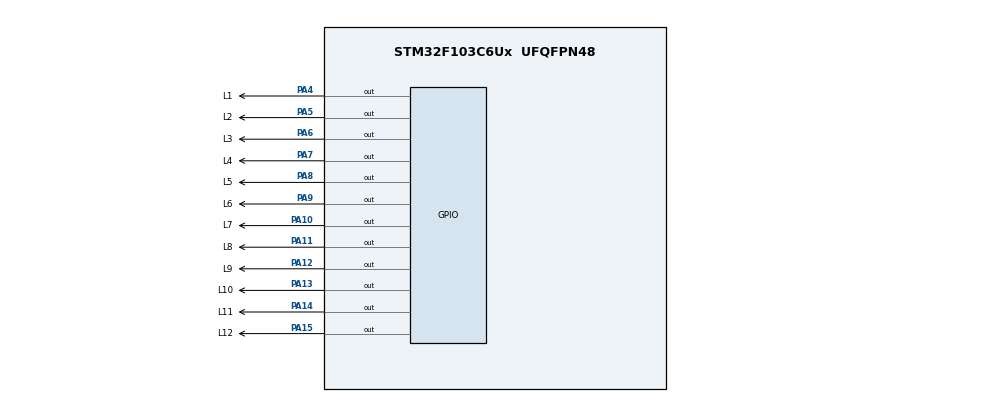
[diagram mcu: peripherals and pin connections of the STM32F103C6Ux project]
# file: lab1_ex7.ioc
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Mcu.Family=STM32F1
Mcu.Name=STM32F103C6Ux
Mcu.Package=UFQFPN48
NVIC.PriorityGroup=NVIC_PRIORITYGROUP_4
PA10.GPIO_Label=L7
PA10.Signal=GPIO_Output
PA11.GPIO_Label=L8
PA11.Signal=GPIO_Output
PA12.GPIO_Label=L9
PA12.Signal=GPIO_Output
PA13.GPIO_Label=L10
PA13.Signal=GPIO_Output
PA14.GPIO_Label=L11
PA14.Signal=GPIO_Output
PA15.GPIO_Label=L12
PA15.Signal=GPIO_Output
PA4.GPIO_Label=L1
PA4.Signal=GPIO_Output
PA5.GPIO_Label=L2
PA5.Signal=GPIO_Output
PA6.GPIO_Label=L3
PA6.Signal=GPIO_Output
PA7.GPIO_Label=L4
PA7.Signal=GPIO_Output
PA8.GPIO_Label=L5
PA8.Signal=GPIO_Output
PA9.GPIO_Label=L6
PA9.Signal=GPIO_Output
ProjectManager.HeapSize=0x200
ProjectManager.StackSize=0x400
ProjectManager.TargetToolchain=STM32CubeIDE
RCC.APB1Freq_Value=8000000
RCC.APB2Freq_Value=8000000
VP_SYS_VS_ND.Mode=No_Debug
board=custom

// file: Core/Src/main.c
/* USER CODE BEGIN Header */
/**
  ******************************************************************************
  * @file           : main.c
  * @brief          : Main program body
  ******************************************************************************
  * @attention
  *
  * <h2><center>&copy; Copyright (c) 2022 STMicroelectronics.
  * All rights reserved.</center></h2>
  *
  * This software component is licensed by ST under BSD 3-Clause license,
  * the "License"; You may not use this file except in compliance with the
  * License. You may obtain a copy of the License at:
  *                        opensource.org/licenses/BSD-3-Clause
  *
  ******************************************************************************
  */
/* USER CODE END Header */
#include "main.h"

void SystemClock_Config(void);
static void MX_GPIO_Init(void);

/* USER CODE BEGIN 0 */
void clearAllClock();
/* USER CODE END 0 */

int main(void)
{

  /* MCU Configuration--------------------------------------------------------*/

  /* Reset of all peripherals, Initializes the Flash interface and the Systick. */
  HAL_Init();

  /* Configure the system clock */
  SystemClock_Config();

  /* Initialize all configured peripherals */
  MX_GPIO_Init();
  /* USER CODE BEGIN 2 */
  int counter = -2;
  // Initialize one of twelve Leds for lighting
  HAL_GPIO_WritePin(GPIOA, L1_Pin, RESET);
  HAL_GPIO_WritePin(GPIOA, L2_Pin, SET);
  HAL_GPIO_WritePin(GPIOA, L3_Pin, SET);
  HAL_GPIO_WritePin(GPIOA, L4_Pin, SET);
  HAL_GPIO_WritePin(GPIOA, L5_Pin, SET);
  HAL_GPIO_WritePin(GPIOA, L6_Pin, SET);
  HAL_GPIO_WritePin(GPIOA, L7_Pin, SET);
  HAL_GPIO_WritePin(GPIOA, L8_Pin, SET);
  HAL_GPIO_WritePin(GPIOA, L9_Pin, SET);
  HAL_GPIO_WritePin(GPIOA, L10_Pin, SET);
  HAL_GPIO_WritePin(GPIOA, L11_Pin, SET);
  HAL_GPIO_WritePin(GPIOA, L12_Pin, SET);
  /* USER CODE END 2 */

  /* Infinite loop */
  while (1)
  {
    /* USER CODE BEGIN 3 */
	  if(counter >= 0) {
		  clearAllClock();
		  switch(counter) {
		  case 0: //LED 1 off, LED 2 on
			  HAL_GPIO_WritePin(GPIOA, L2_Pin, RESET);
			  break;
		  case 1: //LED 2 off, LED 3 on
			  HAL_GPIO_WritePin(GPIOA, L3_Pin, RESET);
			  break;
		  case 2: //LED 3 off, LED 4 on
			  HAL_GPIO_WritePin(GPIOA, L4_Pin, RESET);
			  break;
		  case 3: //LED 4 off, LED 5 on
			  HAL_GPIO_WritePin(GPIOA, L5_Pin, RESET);
			  break;
		  case 4: //LED 5 off, LED 6 on
			  HAL_GPIO_WritePin(GPIOA, L6_Pin, RESET);
			  break;
		  case 5: //LED 6 off, LED 7 on
			  HAL_GPIO_WritePin(GPIOA, L7_Pin, RESET);
			  break;
		  case 6: //LED 7 off, LED 8 on
			  HAL_GPIO_WritePin(GPIOA, L8_Pin, RESET);
			  break;
		  case 7: //LED 8 off, LED 9 on
			  HAL_GPIO_WritePin(GPIOA, L9_Pin, RESET);
			  break;
		  case 8: //LED 9 off, LED 10 on
			  HAL_GPIO_WritePin(GPIOA, L10_Pin, RESET);
			  break;
		  case 9: //LED 10 off, LED 11 on
			  HAL_GPIO_WritePin(GPIOA, L11_Pin, RESET);
			  break;
		  case 10: //LED 11 off, LED 12 on
			  HAL_GPIO_WritePin(GPIOA, L12_Pin, RESET);
			  break;
		  case 11: //LED 12 off, LED 1 on
			  HAL_GPIO_WritePin(GPIOA, L1_Pin, RESET);
			  break;
		  }
	  }
	  counter++;
	  if(counter >= 12)
		  counter = 0; //Repeat the above effect endlessly.
	  HAL_Delay(1000);
  }
  /* USER CODE END 3 */
}

void SystemClock_Config(void)
{
  RCC_OscInitTypeDef RCC_OscInitStruct = {0};
  RCC_ClkInitTypeDef RCC_ClkInitStruct = {0};

  /** Initializes the RCC Oscillators according to the specified parameters
  * in the RCC_OscInitTypeDef structure.
  */
  RCC_OscInitStruct.OscillatorType = RCC_OSCILLATORTYPE_HSI;
  RCC_OscInitStruct.HSIState = RCC_HSI_ON;
  RCC_OscInitStruct.HSICalibrationValue = RCC_HSICALIBRATION_DEFAULT;
  RCC_OscInitStruct.PLL.PLLState = RCC_PLL_NONE;
  if (HAL_RCC_OscConfig(&RCC_OscInitStruct) != HAL_OK)
  {
    Error_Handler();
  }
  /** Initializes the CPU, AHB and APB buses clocks
  */
  RCC_ClkInitStruct.ClockType = RCC_CLOCKTYPE_HCLK|RCC_CLOCKTYPE_SYSCLK
                              |RCC_CLOCKTYPE_PCLK1|RCC_CLOCKTYPE_PCLK2;
  RCC_ClkInitStruct.SYSCLKSource = RCC_SYSCLKSOURCE_HSI;
  RCC_ClkInitStruct.AHBCLKDivider = RCC_SYSCLK_DIV1;
  RCC_ClkInitStruct.APB1CLKDivider = RCC_HCLK_DIV1;
  RCC_ClkInitStruct.APB2CLKDivider = RCC_HCLK_DIV1;

  if (HAL_RCC_ClockConfig(&RCC_ClkInitStruct, FLASH_LATENCY_0) != HAL_OK)
  {
    Error_Handler();
  }
}

static void MX_GPIO_Init(void)
{
  GPIO_InitTypeDef GPIO_InitStruct = {0};

  /* GPIO Ports Clock Enable */
  __HAL_RCC_GPIOA_CLK_ENABLE();

  /*Configure GPIO pin Output Level */
  HAL_GPIO_WritePin(GPIOA, L1_Pin|L2_Pin|L3_Pin|L4_Pin
                          |L5_Pin|L6_Pin|L7_Pin|L8_Pin
                          |L9_Pin|L10_Pin|L11_Pin|L12_Pin, GPIO_PIN_RESET);

  /*Configure GPIO pins : L1_Pin L2_Pin L3_Pin L4_Pin
                           L5_Pin L6_Pin L7_Pin L8_Pin
                           L9_Pin L10_Pin L11_Pin L12_Pin */
  GPIO_InitStruct.Pin = L1_Pin|L2_Pin|L3_Pin|L4_Pin
                          |L5_Pin|L6_Pin|L7_Pin|L8_Pin
                          |L9_Pin|L10_Pin|L11_Pin|L12_Pin;
  GPIO_InitStruct.Mode = GPIO_MODE_OUTPUT_PP;
  GPIO_InitStruct.Pull = GPIO_NOPULL;
  GPIO_InitStruct.Speed = GPIO_SPEED_FREQ_LOW;
  HAL_GPIO_Init(GPIOA, &GPIO_InitStruct);

}

/* USER CODE BEGIN 4 */
void clearAllClock() {
	HAL_GPIO_WritePin(L1_GPIO_Port, L1_Pin, GPIO_PIN_SET);
	HAL_GPIO_WritePin(L2_GPIO_Port, L2_Pin, GPIO_PIN_SET);
	HAL_GPIO_WritePin(L3_GPIO_Port, L3_Pin, GPIO_PIN_SET);
	HAL_GPIO_WritePin(L4_GPIO_Port, L4_Pin, GPIO_PIN_SET);
	HAL_GPIO_WritePin(L5_GPIO_Port, L5_Pin, GPIO_PIN_SET);
	HAL_GPIO_WritePin(L6_GPIO_Port, L6_Pin, GPIO_PIN_SET);
	HAL_GPIO_WritePin(L7_GPIO_Port, L7_Pin, GPIO_PIN_SET);
	HAL_GPIO_WritePin(L8_GPIO_Port, L8_Pin, GPIO_PIN_SET);
	HAL_GPIO_WritePin(L9_GPIO_Port, L9_Pin, GPIO_PIN_SET);
	HAL_GPIO_WritePin(L10_GPIO_Port, L10_Pin, GPIO_PIN_SET);
	HAL_GPIO_WritePin(L11_GPIO_Port, L11_Pin, GPIO_PIN_SET);
	HAL_GPIO_WritePin(L12_GPIO_Port, L12_Pin, GPIO_PIN_SET);
}
/* USER CODE END 4 */

void Error_Handler(void)
{
  __disable_irq();
  while (1)
  {
  }
}

/************************ (C) COPYRIGHT STMicroelectronics *****END OF FILE****/
